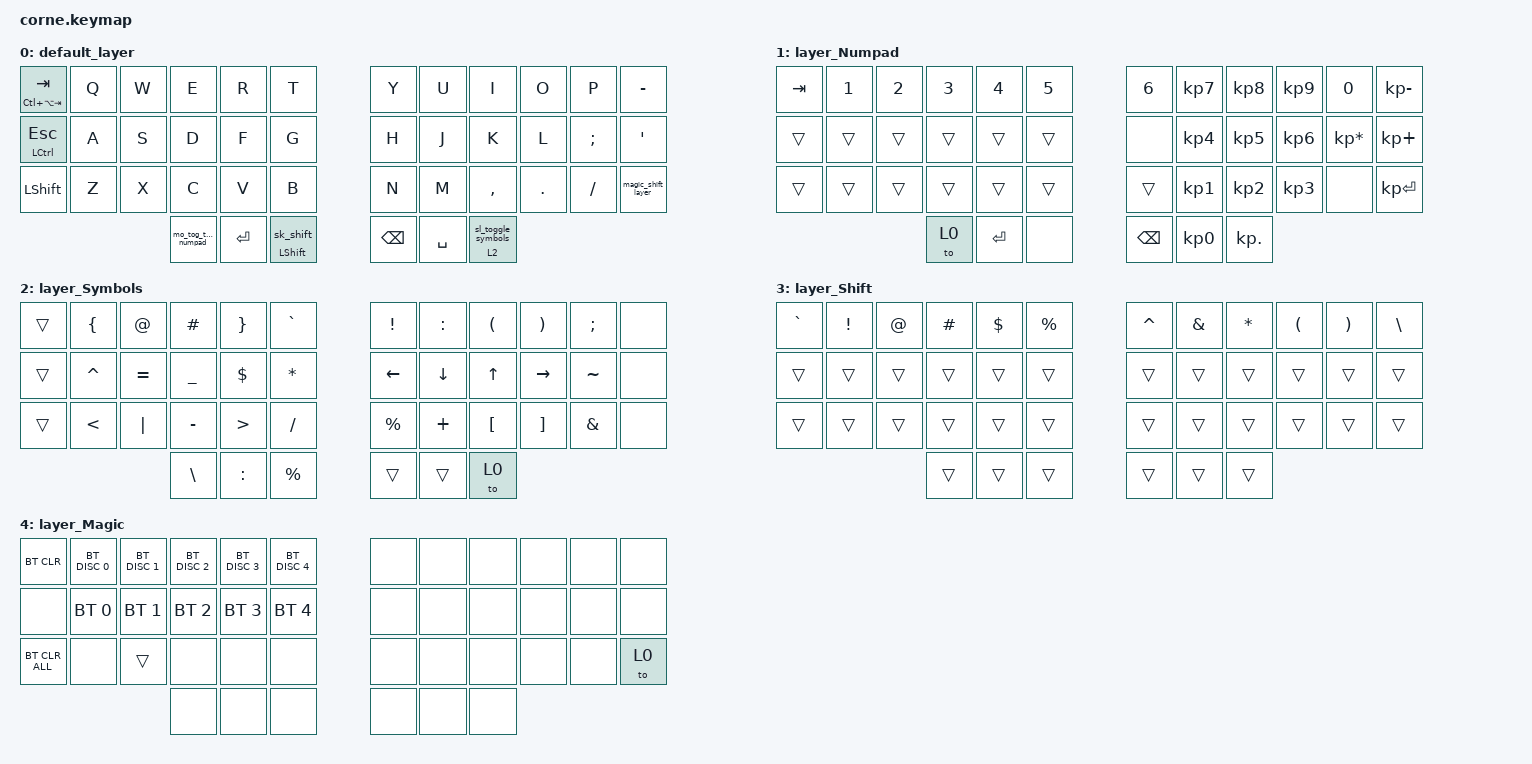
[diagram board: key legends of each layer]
/*
 * Copyright (c) 2020 The ZMK Contributors
 *
 * SPDX-License-Identifier: MIT
 */

#include <behaviors.dtsi>
#include <dt-bindings/zmk/bt.h>
#include <dt-bindings/zmk/keys.h>

&caps_word { continue-list = <UNDERSCORE BACKSPACE DELETE MINUS N1 N2 N3 N4 N5 N6 N7 N8 N9 N0 KP_N1 KP_N2 KP_N3 KP_N4 KP_N5 KP_N6 KP_N7 KP_N8 KP_N9 KP_N0>; };

&sl {
};

&sk { release-after-ms = <1500>; };

/ {
    behaviors {
        magic_shift_layer: magic_shift_layer {
            compatible = "zmk,behavior-tap-dance";
            label = "MAGIC_SHIFT_LAYER";
            #binding-cells = <0>;
            bindings = <&mo 3>, <&none>, <&none>, <&to 4>;
        };

        layer_mo_sl: layer_mo_sl {
            compatible = "zmk,behavior-hold-tap";
            label = "LAYER_MO_SL";
            bindings = <&mo>, <&sl>;

            #binding-cells = <2>;
            tapping-term-ms = <200>;
        };

        mo_tog_tapdance_numpad: mo_tog_tapdance_numpad {
            compatible = "zmk,behavior-tap-dance";
            label = "MO_TOG_TAPDANCE_NUMPAD";
            #binding-cells = <0>;
            bindings = <&mo 1>, <&tog 1>;
        };

        sk_shift: sk_shift {
            compatible = "zmk,behavior-tap-dance";
            label = "SK_SHIFT";
            #binding-cells = <0>;
            bindings = <&sk LEFT_SHIFT>, <&caps_word>;
        };

        stickyshift_tap_hold: stickyshift_tap_hold {
            compatible = "zmk,behavior-hold-tap";
            label = "STICKYSHIFT_TAP_HOLD";
            bindings = <&kp>, <&sk_shift>;

            #binding-cells = <2>;
            tapping-term-ms = <200>;
            quick-tap-ms = <200>;
        };

        sl_toggle_symbols: sl_toggle_symbols {
            compatible = "zmk,behavior-tap-dance";
            label = "SL_TOGGLE_SYMBOLS";
            #binding-cells = <0>;
            bindings = <&sl 2>, <&to 2>;
        };

        sl_tap_hold_symbols: sl_tap_hold_symbols {
            compatible = "zmk,behavior-hold-tap";
            label = "SL_TAP_HOLD_SYMBOLS";
            bindings = <&mo>, <&sl_toggle_symbols>;

            #binding-cells = <2>;
            tapping-term-ms = <200>;
            quick-tap-ms = <200>;
        };

        auto_tab: auto_tab {
            compatible = "zmk,behavior-hold-tap";
            label = "AUTO_TAB";
            bindings = <&kp>, <&kp>;

            #binding-cells = <2>;
            tapping-term-ms = <350>;
            quick-tap-ms = <0>;
            flavor = "tap-preferred";
        };
    };

    combos {
        compatible = "zmk,combos";

        combo_alt {
            bindings = <&sk LS(LC(LEFT_ALT))>;
            key-positions = <26 27>;
        };

        combo_lgui {
            bindings = <&kp LEFT_GUI>;
            key-positions = <36 37>;
        };

        combo_parens_pair {
            bindings = <&parens_pair>;
            key-positions = <8 9>;
            layers = <2>;
        };

        combo_brackets_pair {
            bindings = <&brackets_pair>;
            key-positions = <32 33>;
            layers = <2>;
        };

        combo_braces_pair {
            bindings = <&braces_pair>;
            key-positions = <1 4>;
            layers = <2>;
        };

        combo_lt_gt_pair {
            bindings = <&lt_gt_pair>;
            key-positions = <25 28>;
            layers = <2>;
        };
    };

    macros {
        parens_pair: parens_pair {
            compatible = "zmk,behavior-macro";
            #binding-cells = <0>;
            bindings = <&kp LEFT_PARENTHESIS &kp RIGHT_PARENTHESIS &kp LEFT_ARROW>;
            label = "PARENS_PAIR";
        };

        brackets_pair: brackets_pair {
            compatible = "zmk,behavior-macro";
            #binding-cells = <0>;
            bindings = <&kp LEFT_BRACKET &kp RIGHT_BRACKET &kp LEFT_ARROW>;
            label = "BRACKETS_PAIR";
        };

        braces_pair: braces_pair {
            compatible = "zmk,behavior-macro";
            #binding-cells = <0>;
            bindings = <&kp LEFT_BRACE &kp RIGHT_BRACE &kp LEFT_ARROW>;
            label = "BRACES_PAIR";
        };

        lt_gt_pair: lt_gt_pair {
            compatible = "zmk,behavior-macro";
            #binding-cells = <0>;
            bindings = <&kp LESS_THAN &kp GREATER_THAN &kp LEFT_ARROW>;
            label = "LT_GT_PAIR";
        };
    };

    keymap {
        compatible = "zmk,keymap";

        default_layer {
            // -----------------------------------------------------------------------------------------
            // |  TAB |  Q  |  W  |  E  |  R  |  T  |   |  Y  |  U   |  I  |  O  |  P  | BKSP |
            // | CTRL |  A  |  S  |  D  |  F  |  G  |   |  H  |  J   |  K  |  L  |  ;  |  '   |
            // | SHFT |  Z  |  X  |  C  |  V  |  B  |   |  N  |  M   |  ,  |  .  |  /  | ESC  |
            //                    | GUI | LWR | SPC |   | ENT | RSE  | ALT |

            bindings = <
&auto_tab LC(LA(TAB)) TAB  &kp Q  &kp W  &kp E                    &kp R      &kp T                                 &kp Y          &kp U      &kp I                     &kp O    &kp P     &kp MINUS
&mt LCTRL ESCAPE           &kp A  &kp S  &kp D                    &kp F      &kp G                                 &kp H          &kp J      &kp K                     &kp L    &kp SEMI  &kp SQT
&kp LSHFT                  &kp Z  &kp X  &kp C                    &kp V      &kp B                                 &kp N          &kp M      &kp COMMA                 &kp DOT  &kp FSLH  &magic_shift_layer
                                         &mo_tog_tapdance_numpad  &kp ENTER  &stickyshift_tap_hold LEFT_SHIFT 0    &kp BACKSPACE  &kp SPACE  &sl_tap_hold_symbols 2 0
            >;
        };

        layer_Numpad {
            // -----------------------------------------------------------------------------------------
            // |  TAB |  1  |  2  |  3  |  4  |  5  |   |  6  |  7  |  8  |  9  |  0  | BKSP |
            // | BTCLR| BT1 | BT2 | BT3 | BT4 | BT5 |   | LFT | DWN |  UP | RGT |     |      |
            // | SHFT |     |     |     |     |     |   |     |     |     |     |     |      |
            //                    | GUI |     | SPC |   | ENT |     | ALT |

            bindings = <
&kp TAB  &kp N1  &kp N2  &kp N3  &kp N4     &kp N5    &kp N6         &kp KP_NUMBER_7  &kp KP_NUMBER_8  &kp KP_NUMBER_9  &kp N0           &kp KP_SUBTRACT
&trans   &trans  &trans  &trans  &trans     &trans    &none          &kp KP_NUMBER_4  &kp KP_NUMBER_5  &kp KP_NUMBER_6  &kp KP_MULTIPLY  &kp KP_PLUS
&trans   &trans  &trans  &trans  &trans     &trans    &trans         &kp KP_NUMBER_1  &kp KP_NUMBER_2  &kp KP_NUMBER_3  &none            &kp KP_ENTER
                         &to 0   &kp ENTER  &none     &kp BACKSPACE  &kp KP_NUMBER_0  &kp KP_DOT
            >;
        };

        layer_Symbols {
            // -----------------------------------------------------------------------------------------
            // |  TAB |  !  |  @  |  #  |  $  |  %  |   |  ^  |  &  |  *  |  (  |  )  | BKSP |
            // | CTRL |     |     |     |     |     |   |  -  |  =  |  [  |  ]  |  \  |  `   |
            // | SHFT |     |     |     |     |     |   |  _  |  +  |  {  |  }  | "|" |  ~   |
            //                    | GUI |     | SPC |   | ENT |     | ALT |

            bindings = <
&trans  &kp LEFT_BRACE  &kp AT     &kp HASH       &kp RIGHT_BRACE   &kp GRAVE      &kp EXCL        &kp COLON       &kp LEFT_PARENTHESIS  &kp RIGHT_PARENTHESIS  &kp SEMI   &none
&trans  &kp CARET       &kp EQUAL  &kp UNDER      &kp DOLLAR        &kp STAR       &kp LEFT_ARROW  &kp DOWN_ARROW  &kp UP_ARROW          &kp RIGHT_ARROW        &kp TILDE  &none
&trans  &kp LESS_THAN   &kp PIPE   &kp MINUS      &kp GREATER_THAN  &kp SLASH      &kp PERCENT     &kp PLUS        &kp LEFT_BRACKET      &kp RIGHT_BRACKET      &kp AMPS   &none
                                   &kp BACKSLASH  &kp COLON         &kp PERCENT    &trans          &trans          &to 0
            >;
        };

        layer_Shift {
            bindings = <
&kp GRAVE  &kp EXCL  &kp AT  &kp HASH  &kp DOLLAR  &kp PERCENT    &kp CARET  &kp AMPERSAND  &kp STAR  &kp LEFT_PARENTHESIS  &kp RIGHT_PARENTHESIS  &kp BACKSLASH
&trans     &trans    &trans  &trans    &trans      &trans         &trans     &trans         &trans    &trans                &trans                 &trans
&trans     &trans    &trans  &trans    &trans      &trans         &trans     &trans         &trans    &trans                &trans                 &trans
                             &trans    &trans      &trans         &trans     &trans         &trans
            >;
        };

        layer_Magic {
            bindings = <
&bt BT_CLR      &bt BT_DISC 0  &bt BT_DISC 1  &bt BT_DISC 2  &bt BT_DISC 3  &bt BT_DISC 4    &none  &none  &none  &none  &none  &none
&none           &bt BT_SEL 0   &bt BT_SEL 1   &bt BT_SEL 2   &bt BT_SEL 3   &bt BT_SEL 4     &none  &none  &none  &none  &none  &none
&bt BT_CLR_ALL  &none          &trans         &none          &none          &none            &none  &none  &none  &none  &none  &to 0
                                              &none          &none          &none            &none  &none  &none
            >;
        };
    };
};
